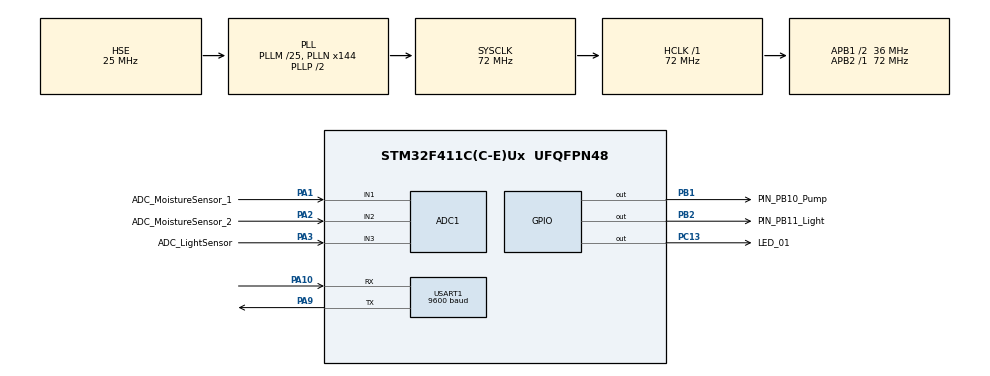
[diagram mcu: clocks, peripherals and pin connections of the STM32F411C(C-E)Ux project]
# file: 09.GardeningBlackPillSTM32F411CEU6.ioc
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ADC1.Channel-0\#ChannelRegularConversion=ADC_CHANNEL_1
ADC1.Channel-1\#ChannelRegularConversion=ADC_CHANNEL_2
ADC1.Channel-2\#ChannelRegularConversion=ADC_CHANNEL_3
ADC1.ClockPrescaler=ADC_CLOCK_SYNC_PCLK_DIV6
ADC1.ContinuousConvMode=ENABLE
ADC1.NbrOfConversion=3
ADC1.NbrOfConversionFlag=1
ADC1.Rank-0\#ChannelRegularConversion=1
ADC1.Rank-1\#ChannelRegularConversion=2
ADC1.Rank-2\#ChannelRegularConversion=3
ADC1.SamplingTime-0\#ChannelRegularConversion=ADC_SAMPLETIME_112CYCLES
ADC1.SamplingTime-1\#ChannelRegularConversion=ADC_SAMPLETIME_112CYCLES
ADC1.SamplingTime-2\#ChannelRegularConversion=ADC_SAMPLETIME_112CYCLES
ADC1.ScanConvMode=ENABLE
ADC1.master=1
Dma.ADC1.0.Direction=DMA_PERIPH_TO_MEMORY
Dma.ADC1.0.FIFOMode=DMA_FIFOMODE_DISABLE
Dma.ADC1.0.Instance=DMA2_Stream0
Dma.ADC1.0.MemDataAlignment=DMA_MDATAALIGN_WORD
Dma.ADC1.0.MemInc=DMA_MINC_ENABLE
Dma.ADC1.0.Mode=DMA_NORMAL
Dma.ADC1.0.PeriphDataAlignment=DMA_PDATAALIGN_WORD
Dma.ADC1.0.PeriphInc=DMA_PINC_DISABLE
Dma.ADC1.0.Priority=DMA_PRIORITY_LOW
Dma.Request0=ADC1
Mcu.Family=STM32F4
Mcu.Name=STM32F411C(C-E)Ux
Mcu.Package=UFQFPN48
NVIC.DMA2_Stream0_IRQn=true\:1\:0\:true\:false\:true\:false\:true\:true
NVIC.PriorityGroup=NVIC_PRIORITYGROUP_4
NVIC.TIM3_IRQn=true\:0\:0\:false\:false\:true\:true\:true\:true
NVIC.USART1_IRQn=true\:0\:0\:false\:false\:true\:true\:true\:true
PA1.GPIO_Label=ADC_MoistureSensor_1
PA1.Signal=ADCx_IN1
PA10.Mode=Asynchronous
PA10.Signal=USART1_RX
PA13.Mode=Serial_Wire
PA13.Signal=SYS_JTMS-SWDIO
PA14.Mode=Serial_Wire
PA14.Signal=SYS_JTCK-SWCLK
PA2.GPIO_Label=ADC_MoistureSensor_2
PA2.Signal=ADCx_IN2
PA3.GPIO_Label=ADC_LightSensor
PA3.Signal=ADCx_IN3
PA9.Mode=Asynchronous
PA9.Signal=USART1_TX
PB1.GPIO_Label=PIN_PB10_Pump
PB1.Signal=GPIO_Output
PB2.GPIO_Label=PIN_PB11_Light
PB2.Signal=GPIO_Output
PC13-ANTI_TAMP.GPIO_Label=LED_01
PC13-ANTI_TAMP.Signal=GPIO_Output
PH0\ -\ OSC_IN.Mode=HSE-External-Oscillator
PH0\ -\ OSC_IN.Signal=RCC_OSC_IN
PH1\ -\ OSC_OUT.Mode=HSE-External-Oscillator
PH1\ -\ OSC_OUT.Signal=RCC_OSC_OUT
ProjectManager.HeapSize=0x200
ProjectManager.StackSize=0x400
ProjectManager.TargetToolchain=STM32CubeIDE
RCC.48MHZClocksFreq_Value=36000000
RCC.AHBFreq_Value=72000000
RCC.APB1CLKDivider=RCC_HCLK_DIV2
RCC.APB1Freq_Value=36000000
RCC.APB1TimFreq_Value=72000000
RCC.APB2Freq_Value=72000000
RCC.APB2TimFreq_Value=72000000
RCC.CortexFreq_Value=72000000
RCC.HCLKFreq_Value=72000000
RCC.HSE_VALUE=25000000
RCC.HSI_VALUE=16000000
RCC.LSE_VALUE=32768
RCC.PLLM=25
RCC.PLLN=144
RCC.PLLSourceVirtual=RCC_PLLSOURCE_HSE
RCC.SYSCLKFreq_VALUE=72000000
RCC.SYSCLKSource=RCC_SYSCLKSOURCE_PLLCLK
RCC.VCOOutputFreq_Value=144000000
SH.ADCx_IN1.0=ADC1_IN1,IN1
SH.ADCx_IN2.0=ADC1_IN2,IN2
SH.ADCx_IN3.0=ADC1_IN3,IN3
TIM3.AutoReloadPreload=TIM_AUTORELOAD_PRELOAD_ENABLE
TIM3.Period=9999
TIM3.Prescaler=7199
USART1.BaudRate=9600
USART1.VirtualMode=VM_ASYNC
VP_TIM3_VS_ClockSourceINT.Mode=Internal
board=custom

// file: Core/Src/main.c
/* USER CODE BEGIN Header */
/**
  ******************************************************************************
  * @file           : main.c
  * @brief          : Main program body
  ******************************************************************************
  * @attention
  *
  * Copyright (c) 2025 STMicroelectronics.
  * All rights reserved.
  *
  * This software is licensed under terms that can be found in the LICENSE file
  * in the root directory of this software component.
  * If no LICENSE file comes with this software, it is provided AS-IS.
  *
  ******************************************************************************
  */
/* USER CODE END Header */
#include "main.h"
#include "adc.h"
#include "dma.h"
#include "tim.h"
#include "usart.h"
#include "gpio.h"

/* USER CODE BEGIN PTD */

#define ADC_BUF_SIZE 3
#define Channel_2_BUF_SIZE 10
#define Channel_3_BUF_SIZE 10
#define Channel_4_BUF_SIZE 10

/* USER CODE END PTD */

/* USER CODE BEGIN PV */
bool DMA_Channel_2_Was_Filled = false;
bool DMA_Channel_3_Was_Filled = false;
bool DMA_Channel_4_Was_Filled = false;

int Buffer2_TableCount = 0;
int Buffer3_TableCount = 0;
int Buffer4_TableCount = 0;

volatile bool adc_ready = false;
uint32_t ADC_MoistureSensor_Dev_1[Channel_2_BUF_SIZE];
uint32_t ADC_MoistureSensor_Dev_2[Channel_3_BUF_SIZE];
uint32_t ADC_LightSensor_Dev[Channel_4_BUF_SIZE];
uint32_t adc_buffer[ADC_BUF_SIZE];
/* USER CODE END PV */

void SystemClock_Config(void);

int main(void)
{

  /* USER CODE BEGIN 1 */
	typedef enum {
		DARK =20,
		NIGHT_OR_MORNING = 90,
		BRIGHT = 99
	} Light_State;

  uint32_t TimeNOW = 0;

  int GetMoistureAvg_TimeLenghtDefault = 10000; // 10 sek
  int GetMoistureAvg_TimeLenghtFast = 1000; // 1sek
  int GetMoistureAvg_TimeLenght = GetMoistureAvg_TimeLenghtDefault;
  uint32_t GetSoilMoisture_FromTime = 0;

  int MoistureHumidityPercent_Dev_1 = 0;
  int MoistureHumidityPercent_Dev_2 = 0;
  int MoistureGeneral = 0;

  bool PumpIsRunnign = false;
  int StartPumpWhenMoistureLower = 45;
  int StopPumpWhenMoistureHigher = 60;

  int GetLightMesurment_TimeLenghtDefault = 5000; // 5 sek
  uint32_t GetLightMesurment_FromTime = 0;

  int MixWater_TimeLenghtDefault = 10800000; // 3h
  uint32_t MixWater_FromTime = 0;

  int LightSensorPercent = 0;
  Light_State LightSensor = DARK;
  bool LightIsON = false;
  /* USER CODE END 1 */

  /* MCU Configuration--------------------------------------------------------*/

  /* Reset of all peripherals, Initializes the Flash interface and the Systick. */
  HAL_Init();

  /* Configure the system clock */
  SystemClock_Config();

  /* Initialize all configured peripherals */
  MX_GPIO_Init();
  MX_DMA_Init();
  MX_ADC1_Init();
  MX_TIM3_Init();
  MX_USART1_UART_Init();
  /* USER CODE BEGIN 2 */

  HAL_ADC_Start_DMA(&hadc1, adc_buffer, ADC_BUF_SIZE);
  HAL_TIM_Base_Start_IT(&htim3);

  /* USER CODE END 2 */

  /* Infinite loop */
  /* USER CODE BEGIN WHILE */
  while (1)
  {

		 if(adc_ready == true)
		 {
				if(Buffer2_TableCount < Channel_2_BUF_SIZE && DMA_Channel_2_Was_Filled == false)
				{
					ADC_MoistureSensor_Dev_1[Buffer2_TableCount]= adc_buffer[0];
					Buffer2_TableCount++;
				}
				else
				{
					DMA_Channel_2_Was_Filled = true;
					Buffer2_TableCount = 0;
				}

				if(Buffer3_TableCount < Channel_3_BUF_SIZE && DMA_Channel_3_Was_Filled == false)
				{
					ADC_MoistureSensor_Dev_2[Buffer3_TableCount]= adc_buffer[1];
					Buffer3_TableCount++;
				}
				else
				{
					DMA_Channel_3_Was_Filled = true;
					Buffer3_TableCount = 0;
				}

				if(Buffer4_TableCount < Channel_4_BUF_SIZE && DMA_Channel_4_Was_Filled == false)
				{
					ADC_LightSensor_Dev[Buffer4_TableCount]= adc_buffer[2];
					Buffer4_TableCount++;
				}
				else
				{
					DMA_Channel_4_Was_Filled = true;
					Buffer4_TableCount = 0;
				}

				 adc_ready = false;
				 HAL_ADC_Start_DMA(&hadc1, adc_buffer, ADC_BUF_SIZE);
		 }

		TimeNOW = HAL_GetTick();

		if(((uint32_t)TimeNOW - GetSoilMoisture_FromTime) >= GetMoistureAvg_TimeLenght)
		{
			GetSoilMoisture_FromTime = TimeNOW;

			 if(DMA_Channel_2_Was_Filled && DMA_Channel_3_Was_Filled)
			 {
				 DMA_Channel_2_Was_Filled = false;
				 DMA_Channel_3_Was_Filled = false;

	//			Moisture soil 1.2 -5 Volt
	//			 MoistureHumidityPercent_Dev_1 = ScaleADC_To_Percent_Inverted_Ranged(ADC_MoistureSensor_Dev_1, Channel_2_BUF_SIZE, 4095, 2300);
	//			 MoistureHumidityPercent_Dev_2 = ScaleADC_To_Percent_Inverted_Ranged(ADC_MoistureSensor_Dev_2, Channel_3_BUF_SIZE, 4095, 2300);

				 //MakerSoil MoistureSensor 5 Volt
//				 MoistureHumidityPercent_Dev_1 = ScaleADC_To_Percent_Inverted_Ranged(ADC_MoistureSensor_Dev_1, Channel_2_BUF_SIZE, 4095, 2910);
//				 MoistureHumidityPercent_Dev_2 = ScaleADC_To_Percent_Inverted_Ranged(ADC_MoistureSensor_Dev_2, Channel_3_BUF_SIZE, 4095, 2840);

				 //MakerSoil MoistureSensor 3.3 Volt

				 MoistureHumidityPercent_Dev_1 = ScaleADC_To_Percent_Inverted_Ranged(ADC_MoistureSensor_Dev_1, Channel_2_BUF_SIZE, 2600, 1730);
				 MoistureHumidityPercent_Dev_2 = ScaleADC_To_Percent_Inverted_Ranged(ADC_MoistureSensor_Dev_2, Channel_3_BUF_SIZE, 2600, 1730);

				 memset(txBuffer, 0, sizeof(txBuffer));
				 snprintf(txBuffer, sizeof(txBuffer), "Moisture sensor Dev 1: %d %%\r\n", MoistureHumidityPercent_Dev_1);
				 Send(txBuffer);

				 memset(txBuffer, 0, sizeof(txBuffer));
				 snprintf(txBuffer, sizeof(txBuffer), "Moisture sensor Dev 2: %d %%\r\n", MoistureHumidityPercent_Dev_2);
				 Send(txBuffer);

				 MoistureGeneral = (MoistureHumidityPercent_Dev_1 + MoistureHumidityPercent_Dev_2)/2;
				 memset(txBuffer, 0, sizeof(txBuffer));
				 snprintf(txBuffer, sizeof(txBuffer), "Soil moisture avg: %d %%\r\n", MoistureGeneral);
				 Send(txBuffer);

				 if(MoistureGeneral <= StartPumpWhenMoistureLower && PumpIsRunnign == false)
				 {
					 memset(txBuffer, 0, sizeof(txBuffer));
					 snprintf(txBuffer, sizeof(txBuffer), "Soil moisture avg: %d is <= %d \r\n", MoistureGeneral, StartPumpWhenMoistureLower);
					 Send(txBuffer);

					 GetMoistureAvg_TimeLenght = GetMoistureAvg_TimeLenghtFast;
					 HAL_GPIO_WritePin(PIN_PB10_Pump_GPIO_Port, PIN_PB10_Pump_Pin, GPIO_PIN_SET);
					 PumpIsRunnign = true;
				 }

				 if(MoistureGeneral >= StopPumpWhenMoistureHigher && PumpIsRunnign == true)
				 {
					 memset(txBuffer, 0, sizeof(txBuffer));
					 snprintf(txBuffer, sizeof(txBuffer), "Soil moisture avg: %d is >= %d \r\n", MoistureGeneral, StopPumpWhenMoistureHigher);
					 Send(txBuffer);
					 HAL_GPIO_WritePin(PIN_PB10_Pump_GPIO_Port, PIN_PB10_Pump_Pin, GPIO_PIN_RESET);
					 GetMoistureAvg_TimeLenght = GetMoistureAvg_TimeLenghtDefault;
					 PumpIsRunnign = false;
				 }

			 }

		}

		TimeNOW = HAL_GetTick();

		if(((uint32_t)TimeNOW - GetLightMesurment_FromTime) >= GetLightMesurment_TimeLenghtDefault)
		{
			GetLightMesurment_FromTime = TimeNOW;

			 if(DMA_Channel_4_Was_Filled)
			 {
				 DMA_Channel_4_Was_Filled = false;

				 //jasno → niska rezystancja LDR → wysokie napięcie → wysokie ADC (np. 3500)
				 //ciemno → wysoka rezystancja LDR → niskie napięcie → niskie ADC (np. 100)
				 LightSensorPercent = ScaleADC_Light_To_Percentage(ADC_LightSensor_Dev, Channel_4_BUF_SIZE, 100, 3700);

				 memset(txBuffer, 0, sizeof(txBuffer));
				 snprintf(txBuffer, sizeof(txBuffer), "Light sensor: %d %% light\r\n", LightSensorPercent);
				 Send(txBuffer);

				 if(LightSensorPercent<= DARK)
					 LightSensor = DARK;
				 else if(LightSensorPercent> DARK && LightSensorPercent< BRIGHT)
					 LightSensor = NIGHT_OR_MORNING;
				 else if(LightSensorPercent > BRIGHT)
					 LightSensor = BRIGHT;

				 memset(txBuffer, 0, sizeof(txBuffer));
				 switch (LightSensor)
				 {
					 case DARK:
						 if(LightIsON == true)
						 {
							 HAL_GPIO_WritePin(PIN_PB11_Light_GPIO_Port, PIN_PB11_Light_Pin,GPIO_PIN_RESET);
							 snprintf(txBuffer, sizeof(txBuffer), "Light sensor DARK disable LED\r\n");
							 Send(txBuffer);
							 LightIsON = false;
						 }
						break;

					 case NIGHT_OR_MORNING:
						 if(LightIsON == false)
						 {
							 HAL_GPIO_WritePin(PIN_PB11_Light_GPIO_Port, PIN_PB11_Light_Pin, GPIO_PIN_SET);
							 snprintf(txBuffer, sizeof(txBuffer), "Light sensor NIGHT_OR_MORNING enable LED\r\n");
							 Send(txBuffer);
							 LightIsON = true;
						 }

						break;

					 case BRIGHT:
						 if(LightIsON == true)
						 {
							 HAL_GPIO_WritePin(PIN_PB11_Light_GPIO_Port, PIN_PB11_Light_Pin,GPIO_PIN_RESET);
							 snprintf(txBuffer, sizeof(txBuffer), "Light sensor DARK disable LED\r\n");
							 Send(txBuffer);
							 LightIsON = false;
						 }
						break;

					 default:
						break;
				 }

			 }
		}
		TimeNOW = HAL_GetTick();

		if(((uint32_t)TimeNOW - MixWater_FromTime) >= MixWater_TimeLenghtDefault)
		{
			MixWater_FromTime = TimeNOW;

			 if(MoistureGeneral < StopPumpWhenMoistureHigher && PumpIsRunnign == false)
			 {
				 memset(txBuffer, 0, sizeof(txBuffer));
				 snprintf(txBuffer, sizeof(txBuffer), "Mixing water..\r\n");
				 Send(txBuffer);
				 HAL_GPIO_WritePin(PIN_PB10_Pump_GPIO_Port, PIN_PB10_Pump_Pin, GPIO_PIN_SET);
				 HAL_Delay(5000);
				 HAL_GPIO_WritePin(PIN_PB10_Pump_GPIO_Port, PIN_PB10_Pump_Pin, GPIO_PIN_RESET);
				 HAL_Delay(5000);
				 HAL_GPIO_WritePin(PIN_PB10_Pump_GPIO_Port, PIN_PB10_Pump_Pin, GPIO_PIN_SET);
				 HAL_Delay(5000);
				 HAL_GPIO_WritePin(PIN_PB10_Pump_GPIO_Port, PIN_PB10_Pump_Pin, GPIO_PIN_RESET);
			 }
		}
    /* USER CODE END WHILE */

  }
}

void SystemClock_Config(void)
{
  RCC_OscInitTypeDef RCC_OscInitStruct = {0};
  RCC_ClkInitTypeDef RCC_ClkInitStruct = {0};

  /** Configure the main internal regulator output voltage
  */
  __HAL_RCC_PWR_CLK_ENABLE();
  __HAL_PWR_VOLTAGESCALING_CONFIG(PWR_REGULATOR_VOLTAGE_SCALE1);

  /** Initializes the RCC Oscillators according to the specified parameters
  * in the RCC_OscInitTypeDef structure.
  */
  RCC_OscInitStruct.OscillatorType = RCC_OSCILLATORTYPE_HSE;
  RCC_OscInitStruct.HSEState = RCC_HSE_ON;
  RCC_OscInitStruct.PLL.PLLState = RCC_PLL_ON;
  RCC_OscInitStruct.PLL.PLLSource = RCC_PLLSOURCE_HSE;
  RCC_OscInitStruct.PLL.PLLM = 25;
  RCC_OscInitStruct.PLL.PLLN = 144;
  RCC_OscInitStruct.PLL.PLLP = RCC_PLLP_DIV2;
  RCC_OscInitStruct.PLL.PLLQ = 4;
  if (HAL_RCC_OscConfig(&RCC_OscInitStruct) != HAL_OK)
  {
    Error_Handler();
  }

  /** Initializes the CPU, AHB and APB buses clocks
  */
  RCC_ClkInitStruct.ClockType = RCC_CLOCKTYPE_HCLK|RCC_CLOCKTYPE_SYSCLK
                              |RCC_CLOCKTYPE_PCLK1|RCC_CLOCKTYPE_PCLK2;
  RCC_ClkInitStruct.SYSCLKSource = RCC_SYSCLKSOURCE_PLLCLK;
  RCC_ClkInitStruct.AHBCLKDivider = RCC_SYSCLK_DIV1;
  RCC_ClkInitStruct.APB1CLKDivider = RCC_HCLK_DIV2;
  RCC_ClkInitStruct.APB2CLKDivider = RCC_HCLK_DIV1;

  if (HAL_RCC_ClockConfig(&RCC_ClkInitStruct, FLASH_LATENCY_2) != HAL_OK)
  {
    Error_Handler();
  }
}

/* USER CODE BEGIN 4 */
void HAL_ADC_ConvCpltCallback(ADC_HandleTypeDef *hadc)
{
	adc_ready = true;
	HAL_ADC_Stop_DMA(&hadc1); // jesli chcial bym wylaczyc timer
}

void HAL_TIM_PeriodElapsedCallback(TIM_HandleTypeDef *htim)
{
	if(htim->Instance == TIM3)
	{
		// HAL_GPIO_WritePin(GPIOC, GPIO_PIN_13, 1);  1 jako ON 0 jako OFF
		HAL_GPIO_TogglePin(LED_01_GPIO_Port, LED_01_Pin);
	}
}

void HAL_UART_RxCpltCallback(UART_HandleTypeDef *huart)
{
    if (huart->Instance == USART1)
    {

    }
}

void HAL_UART_TxCpltCallback(UART_HandleTypeDef *huart)
{
    if (huart->Instance == USART1) // Sprawdź, czy to Twój UART
    {
        isTransmissionComplete = true;
    }
}
/* USER CODE END 4 */

void Error_Handler(void)
{
  __disable_irq();
  while (1)
  {
  }
}
